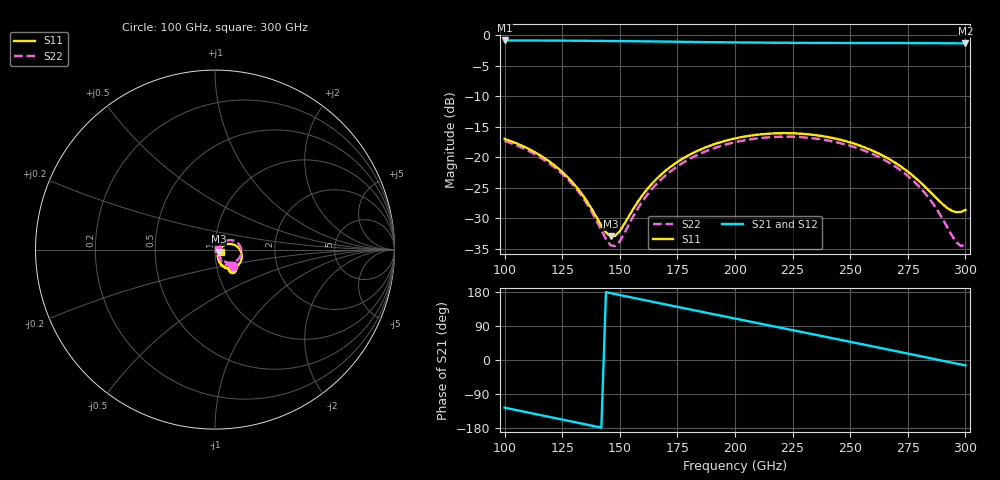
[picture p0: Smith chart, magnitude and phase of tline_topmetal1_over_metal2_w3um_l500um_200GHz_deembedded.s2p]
! Created with skrf 2.0.1 (http://scikit-rf.org).
# GHz S DB R 50.0
!freq dBS11 angS11 dBS21 angS21 dBS12 angS12 dBS22 angS22
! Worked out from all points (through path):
!   101 points, 100 GHz to 300 GHz, reference 50 ohm
!   highest |S21| = -0.86 dB at 100 GHz (marker M1); lowest = -1.3 dB at 300 GHz (marker M2)
!   group delay of S21, straight-line fit = 3.44 ps
!   lowest |S11| = -33.0 dB at 146 GHz (marker M3), VSWR 1.05, Z = 52 - j1.11 ohm
!   |S11| at or under -10 dB: start of sweep to end of sweep
!   |S22| runs from -34.5 to -16.6 dB; largest |S21 - S12| = 1e-14
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100  -16.98 -48.8  -0.86 -125.8  -0.86 -125.8  -17.30 -40.9
110  -18.53 -58.5  -0.87 -138.3  -0.87 -138.3  -18.87 -50.0
120  -20.83 -66.8  -0.88 -150.8  -0.88 -150.8  -21.16 -57.9
128  -23.49 -71.0  -0.90 -160.9  -0.90 -160.9  -23.83 -62.1
134  -26.24 -70.3  -0.91 -168.4  -0.91 -168.4  -26.61 -62.0
144  -32.30 -42.1  -0.94 179.0  -0.94 179.0  -33.38 -36.2
146  -32.95 -28.3  -0.95 176.5  -0.95 176.5  -34.39 -21.2
148  -32.85 -13.3  -0.95 174.0  -0.95 174.0  -34.54 -3.8
150  -32.06 -0.2  -0.96 171.5  -0.96 171.5  -33.75 12.1
160  -26.11 24.9  -1.00 159.0  -1.00 159.0  -27.11 41.1
168  -22.79 24.5  -1.04 149.0  -1.04 149.0  -23.59 41.0
182  -19.24 14.5  -1.10 131.6  -1.10 131.6  -19.92 31.7
200  -16.90 -2.9  -1.18 109.4  -1.18 109.4  -17.52 15.2
216  -16.09 -19.4  -1.23 89.8  -1.23 89.8  -16.68 -0.7
234  -16.32 -37.9  -1.26 67.7  -1.26 67.7  -16.88 -18.7
250  -17.56 -53.3  -1.27 48.0  -1.27 48.0  -18.11 -34.5
268  -20.53 -66.9  -1.28 25.7  -1.28 25.7  -21.12 -50.3
282  -24.63 -67.8  -1.30 8.2  -1.30 8.2  -25.65 -57.0
292  -28.26 -49.7  -1.32 -4.3  -1.32 -4.3  -31.35 -45.3
296  -28.97 -34.9  -1.33 -9.3  -1.33 -9.3  -33.89 -25.6
298  -28.94 -26.8  -1.33 -11.8  -1.33 -11.8  -34.52 -10.7
300  -28.63 -19.2  -1.34 -14.3  -1.34 -14.3  -34.32 5.0
